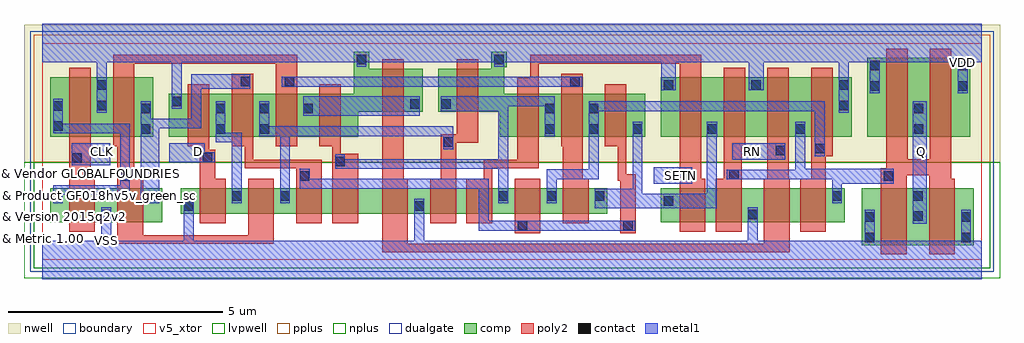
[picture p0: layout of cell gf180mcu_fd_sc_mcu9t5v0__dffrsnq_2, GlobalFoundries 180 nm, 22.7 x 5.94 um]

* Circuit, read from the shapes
.subckt gf180mcu_fd_sc_mcu9t5v0__dffrsnq_2 CLK D Q RN SETN VDD VSS
XM1 VSS CLK n1 VSUBS nfet_05v0 w=0.79u l=0.6u
XM2 n2 n1 VSS VSUBS nfet_05v0 w=0.79u l=0.6u
XM3 n3 D VSS VSUBS nfet_05v0 w=0.59u l=0.6u
XM4 n4 n1 n3 VSUBS nfet_05v0 w=0.59u l=0.6u
XM5 n5 n2 n4 VSUBS nfet_05v0 w=0.59u l=0.6u
XM6 n6 n7 n5 VSUBS nfet_05v0 w=0.59u l=0.6u
XM7 VSS RN n6 VSUBS nfet_05v0 w=0.59u l=0.6u
XM8 n8 n4 VSS VSUBS nfet_05v0 w=0.59u l=0.6u
XM9 n7 SETN n8 VSUBS nfet_05v0 w=0.59u l=0.6u
XM10 n9 n2 n7 VSUBS nfet_05v0 w=0.59u l=0.6u
XM11 n10 n1 n9 VSUBS nfet_05v0 w=0.59u l=0.6u
XM12 n11 SETN n10 VSUBS nfet_05v0 w=0.79u l=0.6u
XM13 VSS n12 n11 VSUBS nfet_05v0 w=0.79u l=0.6u
XM14 n13 RN VSS VSUBS nfet_05v0 w=0.79u l=0.6u
XM15 n12 n9 n13 VSUBS nfet_05v0 w=0.79u l=0.6u
XM16 Q n12 VSS VSUBS nfet_05v0 w=1.32u l=0.6u m=2
XM17 VDD CLK n1 n14 pfet_05v0 w=1.38u l=0.5u
XM18 n2 n1 VDD n14 pfet_05v0 w=1.38u l=0.5u
XM19 n3 D VDD n14 pfet_05v0 w=1u l=0.5u
XM20 n4 n2 n3 n14 pfet_05v0 w=1u l=0.5u
XM21 n15 n1 n4 n14 pfet_05v0 w=1u l=0.5u
XM22 VDD n7 n15 n14 pfet_05v0 w=1u l=0.5u
XM23 n15 RN VDD n14 pfet_05v0 w=1u l=0.5u
XM24 VDD n4 n7 n14 pfet_05v0 w=1u l=0.5u
XM25 n7 SETN VDD n14 pfet_05v0 w=1u l=0.5u
XM26 n9 n1 n7 n14 pfet_05v0 w=1u l=0.5u
XM27 n10 n2 n9 n14 pfet_05v0 w=1u l=0.5u
XM28 n10 SETN VDD n14 pfet_05v0 w=1.38u l=0.5u
XM29 VDD n12 n10 n14 pfet_05v0 w=1.38u l=0.5u
XM30 n12 RN VDD n14 pfet_05v0 w=1.38u l=0.5u
XM31 VDD n9 n12 n14 pfet_05v0 w=1.38u l=0.5u
XM32 Q n12 VDD n14 pfet_05v0 w=1.83u l=0.5u m=2
.ends

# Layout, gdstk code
import gdstk
lib = gdstk.Library(unit=1e-6, precision=1e-09)
def R(c, l, rs):  # rectangles x0, y0, x1, y1
    for r in rs: c.add(gdstk.rectangle(r[:2], r[2:], *l))
def A(c, l, x, y, w, h, nx, ny, dx, dy):  # array of equal rectangles
    R(c, l, [(x+i*dx, y+j*dy, x+i*dx+w, y+j*dy+h) for i in range(nx) for j in range(ny)])
def P(c, l, *ps):  # polygons
    for p in ps: c.add(gdstk.Polygon(p, *l))
boundary = (0, 0)
nwell = (21, 0)
comp = (22, 0)
poly2 = (30, 0)
pplus = (31, 0)
nplus = (32, 0)
contact = (33, 0)
metal1 = (34, 0)
dualgate = (55, 0)
v5_xtor = (112, 1)
lvpwell = (204, 0)

gf180mcu_fd_sc_mcu9t5v0_ = lib.new_cell('gf180mcu_fd_sc_mcu9t5v0__dffrsnq_2')
R(gf180mcu_fd_sc_mcu9t5v0_, boundary, [(0,0,21.84,5.04)])
R(gf180mcu_fd_sc_mcu9t5v0_, nwell, [(-0.43,2.265,22.27,5.47)])
R(gf180mcu_fd_sc_mcu9t5v0_, comp, [(19.06,0.345,21.66,1.665), (0.18,0.875,2.78,1.665), (14.38,0.875,18.66,1.665), (3.22,1.075,13.14,1.665), (0.18,2.865,2.58,4.245), (14.38,2.865,18.82,4.245), (19.18,2.865,21.58,4.695)])
P(gf180mcu_fd_sc_mcu9t5v0_, comp, [(2.94,2.865),(2.94,3.865),(7.24,3.865),(7.24,4.84),(7.6,4.84),(7.6,4.45),(8.84,4.45),(8.84,3.45),(7.34,3.45),(7.34,2.865)],
  [(10.64,2.865),(10.64,3.45),(9.2,3.45),(9.2,4.45),(10.44,4.45),(10.44,4.84),(10.8,4.84),(10.8,4.48),(10.74,4.48),(10.74,3.865),(14.02,3.865),(14.02,2.865)])
R(gf180mcu_fd_sc_mcu9t5v0_, poly2, [(10.98,0.615,11.58,1.885)])
P(gf180mcu_fd_sc_mcu9t5v0_, poly2, [(0.62,0.655),(0.62,4.465),(1.12,4.465),(1.12,1.885),(1.22,1.885),(1.22,0.655)],
  [(3.66,0.855),(3.66,2.645),(3.38,2.645),(3.38,4.085),(3.88,4.085),(3.88,2.565),(4.02,2.565),(4.02,1.885),(4.26,1.885),(4.26,0.855)],
  [(1.74,0.375),(1.74,2.645),(1.64,2.645),(1.64,4.765),(5.92,4.765),(5.92,2.645),(5.42,2.645),(5.42,4.565),(2.14,4.565),(2.14,1.885),(2.34,1.885),(2.34,0.575),(4.78,0.575),(4.78,1.885),(5.38,1.885),(5.38,0.375)],
  [(5.9,0.855),(5.9,2.125),(4.7,2.125),(4.7,2.645),(4.4,2.645),(4.4,4.325),(4.9,4.325),(4.9,2.325),(6.5,2.325),(6.5,0.855)],
  [(6.74,0.855),(6.74,2.645),(6.44,2.645),(6.44,4.085),(6.94,4.085),(6.94,2.465),(7.34,2.465),(7.34,0.855)],
  [(9.02,0.855),(9.02,1.885),(9.26,1.885),(9.26,2.925),(9.64,2.925),(9.64,4.67),(10.14,4.67),(10.14,2.725),(9.62,2.725),(9.62,0.855)],
  [(12.1,0.855),(12.1,2.645),(12.06,2.645),(12.06,4.325),(12.56,4.325),(12.56,1.885),(12.7,1.885),(12.7,0.855)],
  [(13.44,0.615),(13.44,1.845),(13.38,1.845),(13.38,2.645),(13.08,2.645),(13.08,4.085),(13.58,4.085),(13.58,1.99),(13.8,1.99),(13.8,0.615)],
  [(14.82,0.655),(14.82,4.565),(11.54,4.565),(11.54,2.125),(10.46,2.125),(10.46,0.855),(9.86,0.855),(9.86,1.885),(10.26,1.885),(10.26,2.325),(11.04,2.325),(11.04,4.24),(11.34,4.24),(11.34,4.765),(15.32,4.765),(15.32,1.885),(15.42,1.885),(15.42,0.655)],
  [(15.66,0.655),(15.66,1.885),(15.84,1.885),(15.84,4.465),(16.34,4.465),(16.34,2.645),(16.26,2.645),(16.26,0.655)],
  [(7.9,0.175),(7.9,4.67),(8.4,4.67),(8.4,1.885),(8.5,1.885),(8.5,0.375),(16.78,0.375),(16.78,1.885),(16.86,1.885),(16.86,4.465),(17.36,4.465),(17.36,1.885),(17.38,1.885),(17.38,0.175)],
  [(17.62,0.655),(17.62,1.885),(17.88,1.885),(17.88,4.465),(18.38,4.465),(18.38,2.41),(18.22,2.41),(18.22,0.655)],
  [(19.5,0.125),(19.5,2.125),(19.62,2.125),(19.62,4.915),(20.12,4.915),(20.12,2.345),(20.64,2.345),(20.64,4.915),(21.14,4.915),(21.14,1.885),(21.22,1.885),(21.22,0.125),(20.62,0.125),(20.62,1.965),(20.1,1.965),(20.1,0.125)])
R(gf180mcu_fd_sc_mcu9t5v0_, pplus, [(-0.2,2.265,22.04,5.24)])
R(gf180mcu_fd_sc_mcu9t5v0_, nplus, [(-0.2,-0.2,22.04,2.265)])
A(gf180mcu_fd_sc_mcu9t5v0_, contact, 11.69, 2.935, 0.22, 0.22, 3, 1, 1.02, 0)
A(gf180mcu_fd_sc_mcu9t5v0_, contact, 14.45, 3.955, 0.22, 0.22, 3, 1, 2.04, 0)
R(gf180mcu_fd_sc_mcu9t5v0_, contact, [(19.13,0.415,19.35,0.635), (21.37,0.415,21.59,0.635), (11.05,0.685,11.27,0.905), (13.51,0.685,13.73,0.905), (19.13,0.885,19.35,1.105), (21.37,0.885,21.59,1.105), (20.25,0.905,20.47,1.125), (1.37,0.945,1.59,1.165), (16.41,0.945,16.63,1.165), (3.29,1.145,3.51,1.365), (8.65,1.145,8.87,1.365), (14.45,1.26,14.67,1.48), (12.85,1.37,13.07,1.59), (0.25,1.375,0.47,1.595), (2.49,1.375,2.71,1.595), (4.41,1.375,4.63,1.595), (5.53,1.375,5.75,1.595), (10.61,1.375,10.83,1.595), (11.73,1.375,11.95,1.595), (18.37,1.375,18.59,1.595), (20.25,1.375,20.47,1.595), (1.81,1.835,2.03,2.055), (5.99,1.835,6.21,2.055), (14.89,1.835,15.11,2.055), (19.57,1.835,19.79,2.055), (15.97,1.875,16.19,2.095), (6.81,2.175,7.03,2.395), (0.69,2.26,0.91,2.48), (3.73,2.275,3.95,2.495), (17.05,2.43,17.27,2.65), (17.97,2.475,18.19,2.695), (9.33,2.635,9.55,2.855), (2.29,2.935,2.51,3.155), (4.03,2.935,4.25,3.155), (5.05,2.935,5.27,3.155), (15.47,2.935,15.69,3.155), (17.51,2.935,17.73,3.155), (20.27,2.935,20.49,3.155), (0.25,3,0.47,3.22), (2.29,3.405,2.51,3.625), (4.03,3.405,4.25,3.625), (5.05,3.405,5.27,3.625), (11.69,3.405,11.91,3.625), (12.71,3.405,12.93,3.625), (20.27,3.405,20.49,3.625), (6.07,3.41,6.29,3.63), (0.25,3.47,0.47,3.69), (1.27,3.485,1.49,3.705), (18.53,3.485,18.75,3.705), (8.55,3.52,8.77,3.74), (9.27,3.52,9.49,3.74), (3.01,3.575,3.23,3.795), (19.25,3.935,19.47,4.155), (21.29,3.935,21.51,4.155), (1.27,3.955,1.49,4.175), (4.61,4.035,4.83,4.255), (5.63,4.035,5.85,4.255), (12.27,4.035,12.49,4.255), (19.25,4.405,19.47,4.625), (21.29,4.405,21.51,4.625), (7.31,4.55,7.53,4.77), (10.51,4.55,10.73,4.77)])
R(gf180mcu_fd_sc_mcu9t5v0_, metal1, [(20.245,0.845,20.57,3.685), (14.22,1.77,15.115,2.15), (0.685,2.2,1.575,2.71), (16.04,2.33,17.275,2.71), (6.065,3.35,8.775,3.8), (5.57,4.03,12.55,4.26)])
P(gf180mcu_fd_sc_mcu9t5v0_, metal1, [(0.245,1.315),(0.245,1.74),(1.805,1.74),(1.805,2.94),(0.245,2.94),(0.245,3.75),(0.475,3.75),(0.475,3.17),(2.035,3.17),(2.035,1.51),(0.475,1.51),(0.475,1.315)],
  [(2.945,2.27),(2.945,2.71),(3.77,2.71),(3.77,2.5),(4.01,2.5),(4.01,2.27)],
  [(4.405,1.315),(4.405,2.73),(4.025,2.73),(4.025,3.685),(4.255,3.685),(4.255,2.96),(4.635,2.96),(4.635,1.315)],
  [(2.285,1.315),(2.285,3.685),(2.515,3.685),(2.515,3.285),(3.465,3.285),(3.465,4.315),(4.835,4.315),(4.835,3.975),(3.695,3.975),(3.695,3.055),(2.715,3.055),(2.715,1.315)],
  [(5.525,1.315),(5.525,2.875),(5.045,2.875),(5.045,3.685),(5.275,3.685),(5.275,3.105),(9.555,3.105),(9.555,2.575),(9.325,2.575),(9.325,2.875),(5.755,2.875),(5.755,1.315)],
  [(10.605,1.315),(10.605,2.115),(6.805,2.115),(6.805,2.455),(7.035,2.455),(7.035,2.345),(10.605,2.345),(10.605,3.46),(9.265,3.46),(9.265,3.8),(11.915,3.8),(11.915,2.875),(11.685,2.875),(11.685,3.57),(10.835,3.57),(10.835,1.315)],
  [(10.145,0.68),(10.145,1.655),(5.985,1.655),(5.985,2.115),(6.215,2.115),(6.215,1.885),(10.375,1.885),(10.375,0.91),(13.79,0.91),(13.79,0.68)],
  [(12.845,1.2),(12.845,1.65),(13.725,1.65),(13.725,3.215),(13.955,3.215),(13.955,1.54),(15.45,1.54),(15.45,3.215),(15.695,3.215),(15.695,2.875),(15.68,2.875),(15.68,1.2)],
  [(11.725,1.315),(11.725,2.11),(12.705,2.11),(12.705,3.685),(18.195,3.685),(18.195,2.415),(17.965,2.415),(17.965,3.455),(12.935,3.455),(12.935,1.88),(11.955,1.88),(11.955,1.315)],
  [(18.365,1.315),(18.365,1.87),(15.91,1.87),(15.91,2.1),(17.505,2.1),(17.505,3.215),(17.735,3.215),(17.735,2.115),(19.795,2.115),(19.795,1.775),(18.595,1.775),(18.595,1.315)],
  [(0,-0.45),(0,0.45),(1.365,0.45),(1.365,1.225),(1.595,1.225),(1.595,0.45),(3.285,0.45),(3.285,1.425),(3.515,1.425),(3.515,0.45),(8.645,0.45),(8.645,1.425),(8.875,1.425),(8.875,0.45),(16.405,0.45),(16.405,1.225),(16.635,1.225),(16.635,0.45),(19.125,0.45),(19.125,1.165),(19.355,1.165),(19.355,0.45),(21.365,0.45),(21.365,1.165),(21.595,1.165),(21.595,0.45),(21.84,0.45),(21.84,-0.45)],
  [(1.265,3.425),(1.265,4.59),(0,4.59),(0,5.49),(21.84,5.49),(21.84,4.59),(21.515,4.59),(21.515,3.875),(21.285,3.875),(21.285,4.59),(19.475,4.59),(19.475,3.875),(19.245,3.875),(19.245,4.59),(18.755,4.59),(18.755,3.425),(18.525,3.425),(18.525,4.59),(16.77,4.59),(16.77,3.95),(16.43,3.95),(16.43,4.59),(14.73,4.59),(14.73,3.95),(14.39,3.95),(14.39,4.59),(10.735,4.59),(10.735,4.49),(10.505,4.49),(10.505,4.59),(7.535,4.59),(7.535,4.49),(7.305,4.49),(7.305,4.59),(3.235,4.59),(3.235,3.515),(3.005,3.515),(3.005,4.59),(1.495,4.59),(1.495,3.425)])
R(gf180mcu_fd_sc_mcu9t5v0_, dualgate, [(-0.28,-0.28,22.12,5.32)])
R(gf180mcu_fd_sc_mcu9t5v0_, v5_xtor, [(0,0,21.84,5.04)])
R(gf180mcu_fd_sc_mcu9t5v0_, lvpwell, [(-0.43,-0.43,22.27,2.265)])
gf180mcu_fd_sc_mcu9t5v0_.add(gdstk.Label('CLK', (1.4,2.52), layer=34, texttype=10))
gf180mcu_fd_sc_mcu9t5v0_.add(gdstk.Label('D', (3.64,2.52), layer=34, texttype=10))
gf180mcu_fd_sc_mcu9t5v0_.add(gdstk.Label('Q', (20.44,2.52), layer=34, texttype=10))
gf180mcu_fd_sc_mcu9t5v0_.add(gdstk.Label('RN', (16.52,2.52), layer=34, texttype=10))
gf180mcu_fd_sc_mcu9t5v0_.add(gdstk.Label('SETN', (14.84,1.96), layer=34, texttype=10))
gf180mcu_fd_sc_mcu9t5v0_.add(gdstk.Label('VDD', (21.4,4.59), layer=34, texttype=10))
gf180mcu_fd_sc_mcu9t5v0_.add(gdstk.Label('VSS', (1.48,0.45), layer=34, texttype=10))
gf180mcu_fd_sc_mcu9t5v0_.add(gdstk.Label('& Vendor GLOBALFOUNDRIES', (0,2), layer=63, texttype=63))
gf180mcu_fd_sc_mcu9t5v0_.add(gdstk.Label('& Product GF018hv5v_green_sc9', (0,1.5), layer=63, texttype=63))
gf180mcu_fd_sc_mcu9t5v0_.add(gdstk.Label('& Version 2015q2v2', (0,1), layer=63, texttype=63))
gf180mcu_fd_sc_mcu9t5v0_.add(gdstk.Label('& Metric 1.00', (0,0.5), layer=63, texttype=63))

lib.write_gds('gf180mcu_fd_sc_mcu9t5v0__dffrsnq_2.gds')
